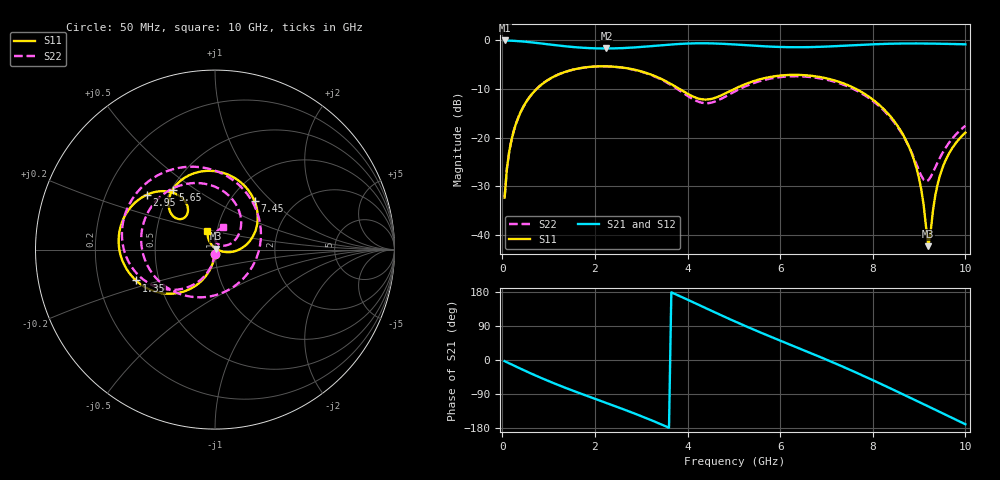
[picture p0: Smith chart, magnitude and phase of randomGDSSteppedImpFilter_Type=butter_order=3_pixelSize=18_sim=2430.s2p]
! freq	dB(S11)	phase(S11)	dB(S12)	phase(S12)
!  dB(S21)	phase(S21)	dB(S22)	phase(S22)
!S-par simulation data
#  GHz  S  DB  R 50
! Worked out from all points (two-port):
!   200 points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, 50 MHz to 10 GHz, reference 50 ohm
!   highest |S21| = -0.01 dB at 50 MHz (marker M1); lowest = -1.7 dB at 2.25 GHz (marker M2)
!   |S21| within 3 dB of the highest: start of sweep to end of sweep
!   lowest |S11| = -42.4 dB at 9.2 GHz (marker M3), VSWR 1.02, Z = 50.5 + j0.587 ohm
!   |S11| at or under -10 dB: start of sweep to 741.2 MHz; 3.825 GHz to 5.012 GHz (1.187 GHz wide, 26.9 % of centre); 7.639 GHz to end of sweep
!   |S22| runs from -32.4 to -5.3 dB; largest |S21 - S12| = 0
!   S11 on the Smith chart (normalised r, x): 50 MHz: 1.00, -0.05; 1.35 GHz: 0.37, -0.16; 2.95 GHz: 0.38, +0.31; 5.65 GHz: 0.51, +0.41; 7.45 GHz: 1.29, +0.79; 10 GHz: 0.90, +0.19
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0.05  -32.37 -92.9  -0.01 -3.0  -0.01 -3.0  -32.37 -93.2
0.15  -22.89 -98.8  -0.04 -8.9  -0.04 -8.9  -22.89 -99.7
0.4  -14.69 -112.6  -0.18 -23.3  -0.18 -23.3  -14.69 -115.1
0.85  -9.07 -135.7  -0.64 -47.9  -0.64 -47.9  -9.07 -141.0
1.35  -6.51 -158.7  -1.20 -72.8  -1.20 -72.8  -6.51 -167.8
1.75  -5.61 -175.3  -1.52 -91.2  -1.52 -91.2  -5.62 171.9
2.25  -5.33 165.6  -1.66 -113.5  -1.66 -113.5  -5.36 146.6
2.95  -6.25 141.1  -1.38 -145.7  -1.38 -145.7  -6.31 107.4
3.4  -7.79 128.0  -1.03 -168.2  -1.03 -168.2  -7.91 76.3
4.15  -11.69 125.4  -0.60 150.8  -0.60 150.8  -12.26 -2.3
4.6  -11.81 138.6  -0.63 125.2  -0.63 125.2  -12.57 -69.1
5.05  -9.83 140.2  -0.85 100.3  -0.85 100.3  -10.37 -121.8
5.65  -7.79 125.4  -1.21 68.8  -1.21 68.8  -8.15 -169.4
6.7  -7.31 84.7  -1.36 16.2  -1.36 16.2  -7.59 127.4
7.45  -9.16 50.7  -1.06 -22.8  -1.06 -22.8  -9.44 85.0
8.35  -15.30 7.9  -0.69 -73.1  -0.69 -73.1  -15.57 34.9
8.9  -24.91 -13.5  -0.62 -105.0  -0.62 -105.0  -24.47 21.9
9.05  -30.86 -12.8  -0.63 -113.8  -0.63 -113.8  -27.92 36.7
9.2  -42.38 49.9  -0.64 -122.5  -0.64 -122.5  -28.81 68.0
9.35  -31.92 122.8  -0.66 -131.3  -0.66 -131.3  -26.15 88.1
9.45  -27.84 125.2  -0.68 -137.2  -0.68 -137.2  -24.17 91.8
10  -18.99 112.1  -0.80 -169.6  -0.80 -169.6  -17.58 69.4
